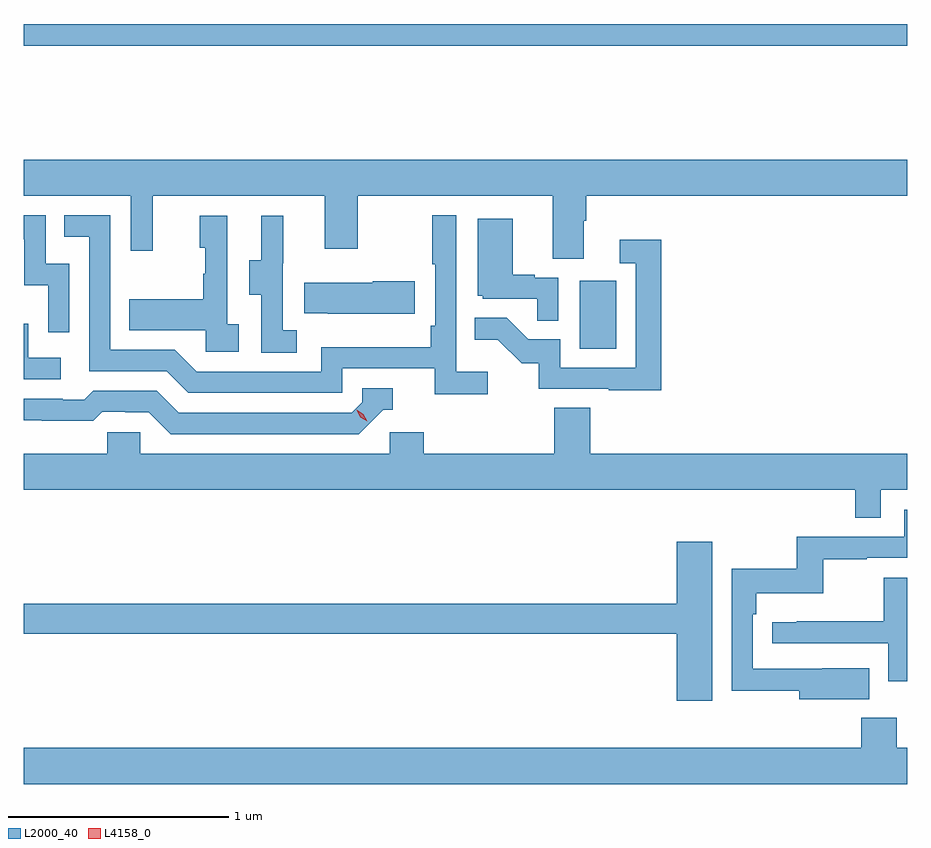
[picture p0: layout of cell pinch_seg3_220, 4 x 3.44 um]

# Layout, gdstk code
import gdstk
lib = gdstk.Library(unit=1e-6, precision=1e-09)
def R(c, l, rs):  # rectangles x0, y0, x1, y1
    for r in rs: c.add(gdstk.rectangle(r[:2], r[2:], *l))
def P(c, l, *ps):  # polygons
    for p in ps: c.add(gdstk.Polygon(p, *l))
L2000_40 = (2000, 40)
L4158_0 = (4158, 0)

pinch_seg3_220 = lib.new_cell('pinch_seg3_220')
R(pinch_seg3_220, L2000_40, [(951.464,744.18,951.628,744.487), (948.946,745.552,952.946,745.65)])
P(pinch_seg3_220, L2000_40, [(951.481,744.76),(951.494,744.76),(951.494,744.872),(952.946,744.872),(952.946,745.036),(948.946,745.036),(948.946,744.872),(949.431,744.872),(949.431,744.624),(949.529,744.624),(949.529,744.872),(950.309,744.872),(950.309,744.633),(950.457,744.633),(950.457,744.872),(951.341,744.872),(951.341,744.586),(951.481,744.586)],
  [(951.046,744.076),(950.904,744.076),(950.904,744.784),(950.796,744.784),(950.796,744.562),(950.808,744.562),(950.808,744.283),(950.788,744.283),(950.788,744.187),(950.292,744.187),(950.292,744.075),(949.728,744.075),(949.629,744.174),(949.338,744.174),(949.338,744.783),(949.129,744.783),(949.129,744.687),(949.242,744.687),(949.242,744.078),(949.592,744.078),(949.691,743.979),(950.388,743.979),(950.388,744.09),(950.807,744.09),(950.807,743.974),(951.046,743.974)],
  [(949.152,744.564),(949.044,744.564),(949.044,744.783),(948.946,744.783),(948.946,744.675),(948.947,744.675),(948.947,744.467),(949.056,744.467),(949.056,744.255),(949.152,744.255)],
  [(949.918,744.29),(949.866,744.29),(949.866,744.781),(949.742,744.781),(949.742,744.636),(949.768,744.636),(949.768,744.518),(949.758,744.518),(949.758,744.403),(949.423,744.403),(949.423,744.263),(949.77,744.263),(949.77,744.165),(949.918,744.165)],
  [(950.182,744.263),(950.118,744.263),(950.118,744.567),(950.12,744.567),(950.12,744.781),(950.021,744.781),(950.021,744.579),(949.967,744.579),(949.967,744.424),(950.022,744.424),(950.022,744.16),(950.182,744.16)],
  [(951.366,744.501),(951.26,744.501),(951.26,744.514),(951.16,744.514),(951.16,744.769),(951.002,744.769),(951.002,744.42),(951.024,744.42),(951.024,744.405),(951.271,744.405),(951.271,744.307),(951.366,744.307)],
  [(951.833,744.673),(951.645,744.673),(951.645,744.567),(951.717,744.567),(951.717,744.093),(951.375,744.093),(951.375,744.222),(951.231,744.222),(951.133,744.32),(950.989,744.32),(950.989,744.221),(951.093,744.221),(951.2,744.114),(951.277,744.114),(951.277,743.997),(951.595,743.997),(951.595,743.992),(951.833,743.992)],
  [(950.716,744.486),(950.525,744.486),(950.525,744.478),(950.215,744.478),(950.215,744.341),(950.323,744.341),(950.323,744.338),(950.716,744.338)],
  [(949.114,744.138),(948.966,744.138),(948.966,744.292),(948.946,744.292),(948.946,744.042),(949.114,744.042)],
  [(950.574,743.904),(950.617,743.904),(950.617,744),(950.478,744),(950.478,743.937),(950.43,743.889),(949.647,743.889),(949.548,743.988),(949.259,743.988),(949.22,743.949),(949.121,743.949),(949.121,743.952),(948.946,743.952),(948.946,743.855),(949.026,743.855),(949.026,743.853),(949.259,743.853),(949.301,743.895),(949.404,743.895),(949.404,743.892),(949.511,743.892),(949.61,743.793),(950.463,743.793)],
  [(952.827,743.54),(952.946,743.54),(952.946,743.704),(951.512,743.704),(951.512,743.912),(951.347,743.912),(951.347,743.704),(950.756,743.704),(950.756,743.802),(950.604,743.802),(950.604,743.704),(949.473,743.704),(949.473,743.802),(949.323,743.802),(949.323,743.704),(948.946,743.704),(948.946,743.54),(952.711,743.54),(952.711,743.413),(952.827,743.413)],
  [(952.775,742.732),(952.561,742.732),(952.561,742.731),(952.248,742.731),(952.248,742.976),(952.262,742.976),(952.262,743.072),(952.567,743.072),(952.567,743.227),(952.763,743.227),(952.763,743.232),(952.946,743.232),(952.946,743.451),(952.932,743.451),(952.932,743.328),(952.446,743.328),(952.446,743.182),(952.152,743.182),(952.152,742.63),(952.457,742.63),(952.457,742.592),(952.775,742.592)],
  [(952.063,743.305),(951.902,743.305),(951.902,743.024),(948.946,743.024),(948.946,742.888),(951.902,742.888),(951.902,742.584),(952.063,742.584)],
  [(952.946,743.142),(952.84,743.142),(952.84,742.946),(952.447,742.946),(952.447,742.941),(952.335,742.941),(952.335,742.845),(952.86,742.845),(952.86,742.673),(952.946,742.673)],
  [(952.946,742.372),(952.899,742.372),(952.899,742.507),(952.739,742.507),(952.739,742.372),(948.946,742.372),(948.946,742.208),(952.946,742.208)])
P(pinch_seg3_220, L4158_0, [(950.5,743.85),(950.469,743.869),(950.453,743.902),(950.453,743.903),(950.454,743.903),(950.484,743.883),(950.5,743.85),(950.5,743.85)])

lib.write_gds('pinch_seg3_220.gds')
